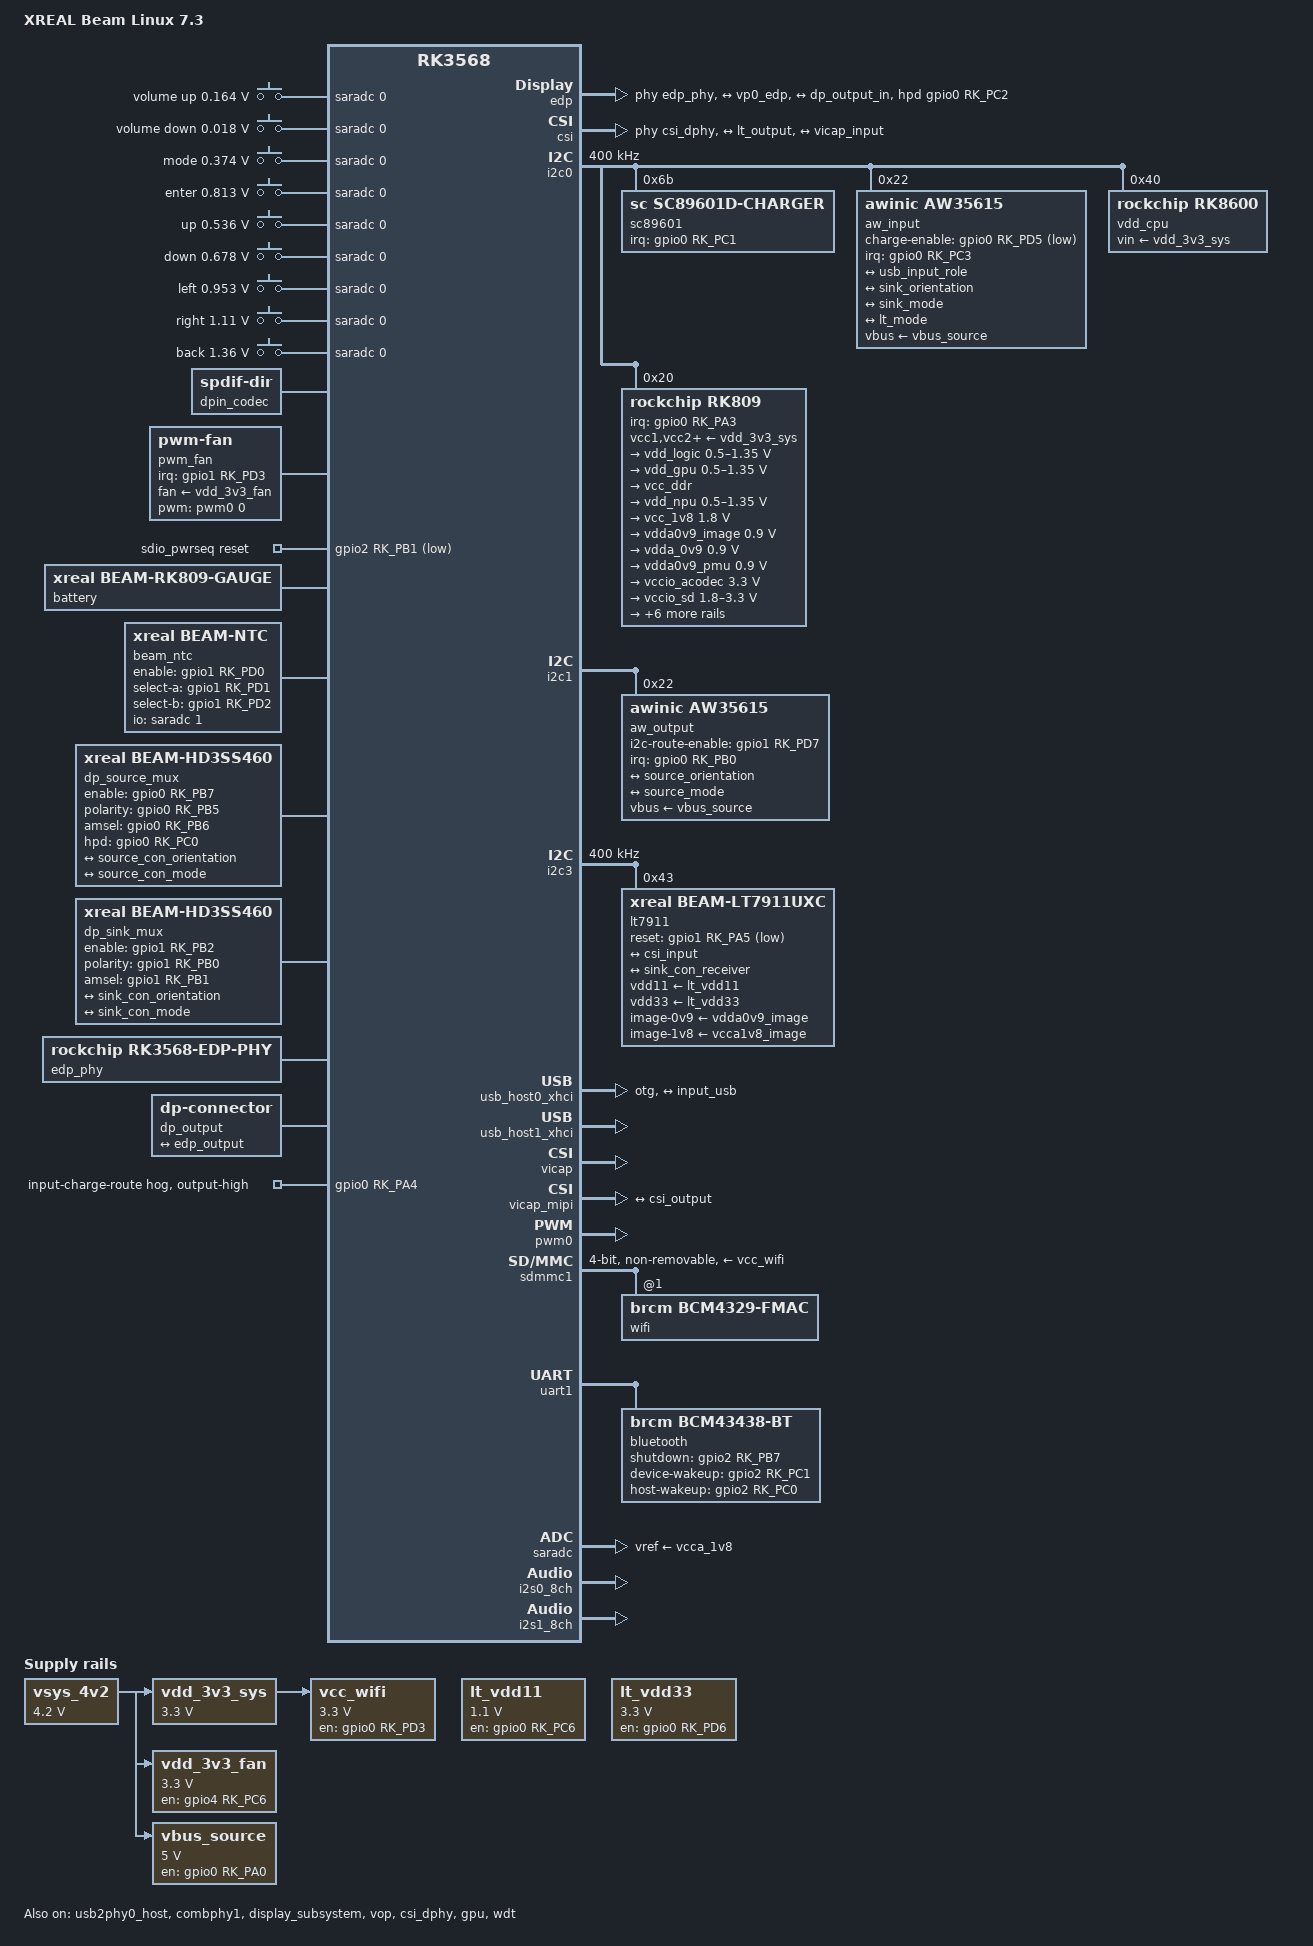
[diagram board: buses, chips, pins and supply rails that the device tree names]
// SPDX-License-Identifier: (GPL-2.0-only OR MIT)
/* 実機の稼働DTから配線・電源制約を移植。本家7.3のSoC定義を使用。 */
#include "rk3568-xreal-beam.dts"
#include <dt-bindings/gpio/gpio.h>
#include <dt-bindings/input/input.h>
#include <dt-bindings/usb/pd.h>
#include <dt-bindings/clock/rockchip,rk808.h>
#include <dt-bindings/media/video-interfaces.h>
#include <dt-bindings/soc/rockchip,vop2.h>

/* 実機dtboの__fixups__が参照するラベル。通常再起動の理由も明示する。 */
&pmugrf {
	reboot_mode: reboot-mode {
		compatible = "syscon-reboot-mode";
		offset = <0x200>;
		mode-normal = <0x5242c300>;
		mode-bootloader = <0x5242c309>;
		mode-recovery = <0x5242c303>;
		mode-loader = <0x5242c301>;
	};
};

/ {
	model = "XREAL Beam Linux 7.3";
	aliases {
		mmc1 = &sdmmc1;
	};

	adc-keys {
		compatible = "adc-keys";
		io-channels = <&saradc 0>;
		io-channel-names = "buttons";
		keyup-threshold-microvolt = <1800000>;
		poll-interval = <20>;
		volume-up { label = "volume up"; linux,code = <KEY_VOLUMEUP>; press-threshold-microvolt = <0x280a0>; };
		volume-down { label = "volume down"; linux,code = <KEY_VOLUMEDOWN>; press-threshold-microvolt = <0x4650>; };
		mode { label = "mode"; linux,code = <0x13c>; press-threshold-microvolt = <0x5b3c4>; };
		enter { label = "enter"; linux,code = <KEY_ENTER>; press-threshold-microvolt = <0xc67c8>; };
		up { label = "up"; linux,code = <KEY_UP>; press-threshold-microvolt = <0x82dc0>; };
		down { label = "down"; linux,code = <KEY_DOWN>; press-threshold-microvolt = <0xa57a8>; };
		left { label = "left"; linux,code = <KEY_LEFT>; press-threshold-microvolt = <0xe88b4>; };
		right { label = "right"; linux,code = <KEY_RIGHT>; press-threshold-microvolt = <0x10eff0>; };
		back { label = "back"; linux,code = <KEY_BACK>; press-threshold-microvolt = <0x14c080>; };
	};
	/* LT7911UXC supplies the I2S clocks; the codec has no software controls. */
	dpin_codec: dpin-codec {
		compatible = "linux,spdif-dir";
		#sound-dai-cells = <0>;
	};
	dpin-sound {
		compatible = "simple-audio-card";
		simple-audio-card,name = "rockchip,dummy-codec";
		simple-audio-card,format = "i2s";
		simple-audio-card,bitclock-master = <&dpin_master>;
		simple-audio-card,frame-master = <&dpin_master>;
		simple-audio-card,cpu { sound-dai = <&i2s1_8ch>; };
		dpin_master: simple-audio-card,codec { sound-dai = <&dpin_codec>; };
	};
	dpout-sound {
		compatible = "simple-audio-card";
		simple-audio-card,name = "rkhdmianalogsnd";
		simple-audio-card,format = "i2s";
		simple-audio-card,mclk-fs = <256>;
		simple-audio-card,cpu { sound-dai = <&i2s0_8ch>; };
		simple-audio-card,codec { sound-dai = <&edp>; };
	};

	vsys_4v2: regulator-vsys {
		compatible = "regulator-fixed";
		regulator-name = "vsys_4v2";
		regulator-min-microvolt = <4200000>;
		regulator-max-microvolt = <4200000>;
		regulator-always-on;
		regulator-boot-on;
	};
	/* 純正DTのPMIC入力はvdd_3v3_sys。物理電源の推定で変更しない。 */
	vdd_3v3_sys: regulator-system {
		compatible = "regulator-fixed";
		regulator-name = "vdd_3v3_sys";
		regulator-min-microvolt = <3300000>;
		regulator-max-microvolt = <3300000>;
		vin-supply = <&vsys_4v2>;
		regulator-always-on;
		regulator-boot-on;
	};
	vdd_3v3_fan: regulator-fan {
		compatible = "regulator-fixed";
		pinctrl-names = "default";
		pinctrl-0 = <&fan_enable>;
		regulator-name = "vdd_3v3_fan";
		regulator-min-microvolt = <3300000>;
		regulator-max-microvolt = <3300000>;
		vin-supply = <&vsys_4v2>;
		gpio = <&gpio4 RK_PC6 GPIO_ACTIVE_HIGH>;
		enable-active-high;
		regulator-always-on;
		regulator-boot-on;
	};
	vcc_wifi: regulator-wifi {
		compatible = "regulator-fixed";
		regulator-name = "wifi-vbat";
		regulator-min-microvolt = <3300000>;
		regulator-max-microvolt = <3300000>;
		vin-supply = <&vdd_3v3_sys>;
		gpio = <&gpio0 RK_PD3 GPIO_ACTIVE_HIGH>;
		enable-active-high;
		regulator-always-on;
		regulator-boot-on;
	};
	pwm_fan: pwm-fan {
		compatible = "pwm-fan";
		pinctrl-names = "default";
		pinctrl-0 = <&fan_tach>;
		interrupt-parent = <&gpio1>;
		interrupts = <RK_PD3 IRQ_TYPE_EDGE_FALLING>;
		/* hwmon標準の2 pulse/rev換算。絶対回転数の機械的較正は別途必要。 */
		pulses-per-revolution = <2>;
		pwms = <&pwm0 0 40000 0>;
		fan-supply = <&vdd_3v3_fan>;
		/* CPUと外部NTCの冷却要求の最大値をthermal coreが適用する。 */
		cooling-levels = <0 140 160 190 255>;
		#cooling-cells = <2>;
	};
	sdio_pwrseq: sdio-pwrseq {
		compatible = "mmc-pwrseq-simple";
		clocks = <&rk809 RK808_CLKOUT1>;
		clock-names = "ext_clock";
		/* PMICのenableに加えてSoC側の外部LPO出力ピンも必要。 */
		pinctrl-names = "default";
		pinctrl-0 = <&clk32k_out1 &wifi_reset>;
		reset-gpios = <&gpio2 RK_PB1 GPIO_ACTIVE_LOW>;
		post-power-on-delay-ms = <200>;
	};

	reserved-memory {
		ramoops@110000 {
			compatible = "ramoops";
			reg = <0 0x110000 0 0xf0000>;
			record-size = <0x20000>;
			console-size = <0x80000>;
			pmsg-size = <0x50000>;
		};
	};

	battery {
		compatible = "xreal,beam-rk809-gauge";
		pmic = <&rk809>;
		charge-controller = <&sc89601>;
		charge-full-design-microamp-hours = <4933000>;
		sense-resistor-micro-ohms = <10000>;
	};

	beam_ntc: ntc-sensors {
		compatible = "xreal,beam-ntc";
		pinctrl-names = "default";
		pinctrl-0 = <&ntc_controls>;
		enable-gpios = <&gpio1 RK_PD0 GPIO_ACTIVE_HIGH>;
		select-a-gpios = <&gpio1 RK_PD1 GPIO_ACTIVE_HIGH>;
		select-b-gpios = <&gpio1 RK_PD2 GPIO_ACTIVE_HIGH>;
		io-channels = <&saradc 1>;
		io-channel-names = "ntc";
		#thermal-sensor-cells = <1>;
	};
	thermal-zones {
		beam-outside {
			polling-delay = <1000>;
			polling-delay-passive = <1000>;
			thermal-sensors = <&beam_ntc 4>;
			trips {
				outside_35: fan-35 { temperature = <35000>; hysteresis = <2000>; type = "active"; };
				outside_40: fan-40 { temperature = <40000>; hysteresis = <2000>; type = "active"; };
				outside_45: fan-45 { temperature = <45000>; hysteresis = <2000>; type = "active"; };
				outside_50: fan-50 { temperature = <50000>; hysteresis = <2000>; type = "active"; };
				charge_42: charge-42 { temperature = <42000>; hysteresis = <0>; type = "active"; };
				charge_47: charge-47 { temperature = <47000>; hysteresis = <0>; type = "active"; };
			};
			cooling-maps {
				fan35 { trip = <&outside_35>; cooling-device = <&pwm_fan 1 1>; };
				fan40 { trip = <&outside_40>; cooling-device = <&pwm_fan 2 2>; };
				fan45 { trip = <&outside_45>; cooling-device = <&pwm_fan 3 3>; };
				fan50 { trip = <&outside_50>; cooling-device = <&pwm_fan 4 4>; };
				charge42 { trip = <&charge_42>; cooling-device = <&sc89601 1 1>; };
				charge45 { trip = <&outside_45>; cooling-device = <&sc89601 2 2>; };
				charge47 { trip = <&charge_47>; cooling-device = <&sc89601 3 3>; };
				charge50 { trip = <&outside_50>; cooling-device = <&sc89601 4 4>; };
			};
		};
		beam-battery {
			polling-delay = <1000>;
			polling-delay-passive = <1000>;
			thermal-sensors = <&beam_ntc 3>;
			trips {
				battery_warm: warm { temperature = <45000>; hysteresis = <1000>; type = "active"; };
				battery_hot: hot { temperature = <54000>; hysteresis = <1000>; type = "active"; };
				critical { temperature = <67000>; hysteresis = <0>; type = "critical"; };
			};
			cooling-maps {
				warm { trip = <&battery_warm>; cooling-device = <&sc89601 2 2>; };
				hot { trip = <&battery_hot>; cooling-device = <&sc89601 4 4>; };
			};
		};
		beam-battery-cold {
			/* 温度の符号を反転し、低温時にも通常のthermal判定を使う。 */
			polling-delay = <1000>;
			polling-delay-passive = <1000>;
			thermal-sensors = <&beam_ntc 5>;
			trips {
				battery_cool: cool { temperature = <(-15000)>; hysteresis = <1000>; type = "active"; };
				battery_cold: cold { temperature = <0>; hysteresis = <0>; type = "active"; };
			};
			cooling-maps {
				cool { trip = <&battery_cool>; cooling-device = <&sc89601 2 2>; };
				cold { trip = <&battery_cold>; cooling-device = <&sc89601 4 4>; };
			};
		};
		beam-board {
			polling-delay = <1000>;
			polling-delay-passive = <1000>;
			thermal-sensors = <&beam_ntc 0>;
			trips {
				critical { temperature = <80000>; hysteresis = <0>; type = "critical"; };
			};
		};
	};

	vbus_source: regulator-vbus-source {
		compatible = "regulator-fixed";
		pinctrl-names = "default";
		pinctrl-0 = <&vbus_enable>;
		regulator-name = "vbus5v0_otg";
		regulator-min-microvolt = <5000000>;
		regulator-max-microvolt = <5000000>;
		vin-supply = <&vsys_4v2>;
		gpio = <&gpio0 RK_PA0 GPIO_ACTIVE_HIGH>;
		enable-active-high;
	};
	lt_vdd11: regulator-lt-vdd11 {
		compatible = "regulator-fixed";
		regulator-name = "lt7911uxc-1v1";
		regulator-min-microvolt = <1100000>;
		regulator-max-microvolt = <1100000>;
		gpio = <&gpio0 RK_PC6 GPIO_ACTIVE_HIGH>;
		enable-active-high;
		regulator-boot-on;
		regulator-always-on;
	};
	lt_vdd33: regulator-lt-vdd33 {
		compatible = "regulator-fixed";
		regulator-name = "lt7911uxc-3v3";
		regulator-min-microvolt = <3300000>;
		regulator-max-microvolt = <3300000>;
		gpio = <&gpio0 RK_PD6 GPIO_ACTIVE_HIGH>;
		enable-active-high;
		regulator-boot-on;
		regulator-always-on;
	};

	dp_source_mux: typec-dp-source-mux {
		compatible = "xreal,beam-hd3ss460";
		pinctrl-names = "default";
		pinctrl-0 = <&dp_source_controls>;
		orientation-switch;
		mode-switch;
		enable-gpios = <&gpio0 RK_PB7 GPIO_ACTIVE_HIGH>;
		polarity-gpios = <&gpio0 RK_PB5 GPIO_ACTIVE_HIGH>;
		amsel-gpios = <&gpio0 RK_PB6 GPIO_ACTIVE_HIGH>;
		hpd-gpios = <&gpio0 RK_PC0 GPIO_ACTIVE_HIGH>;
		ports {
			#address-cells = <1>;
			#size-cells = <0>;
			port@0 { reg = <0>; source_orientation: endpoint { remote-endpoint = <&source_con_orientation>; }; };
			port@1 { reg = <1>; source_mode: endpoint { remote-endpoint = <&source_con_mode>; }; };
		};
	};
	dp_sink_mux: typec-dp-sink-mux {
		compatible = "xreal,beam-hd3ss460";
		pinctrl-names = "default";
		pinctrl-0 = <&dp_sink_controls>;
		orientation-switch;
		mode-switch;
		enable-gpios = <&gpio1 RK_PB2 GPIO_ACTIVE_HIGH>;
		polarity-gpios = <&gpio1 RK_PB0 GPIO_ACTIVE_HIGH>;
		amsel-gpios = <&gpio1 RK_PB1 GPIO_ACTIVE_HIGH>;
		ports {
			#address-cells = <1>;
			#size-cells = <0>;
			port@0 { reg = <0>; sink_orientation: endpoint { remote-endpoint = <&sink_con_orientation>; }; };
			port@1 { reg = <1>; sink_mode: endpoint { remote-endpoint = <&sink_con_mode>; }; };
		};
	};

	edp_phy_grf: syscon@fdcb0000 {
		compatible = "rockchip,rk3568-edp-phy-grf", "syscon", "simple-mfd";
		reg = <0 0xfdcb0000 0 0x100>;
		clocks = <&cru PCLK_EDPPHY_GRF>;
		edp_phy: edp-phy {
			compatible = "rockchip,rk3568-edp-phy";
			clocks = <&pmucru XIN_OSC0_EDPPHY_G>;
			clock-names = "refclk";
			#phy-cells = <0>;
		};
	};
	dp_output: dp-connector {
		compatible = "dp-connector";
		type = "full-size";
		port { dp_output_in: endpoint { remote-endpoint = <&edp_output>; }; };
	};
	edp: edp@fe0c0000 {
		#sound-dai-cells = <0>;
		compatible = "rockchip,rk3568-edp";
		reg = <0 0xfe0c0000 0 0x10000>;
		interrupts = <GIC_SPI 18 IRQ_TYPE_LEVEL_HIGH>;
		clocks = <&pmucru XIN_OSC0_EDPPHY_G>, <&cru PCLK_EDP_CTRL>, <&cru HCLK_VO>;
		clock-names = "dp", "pclk", "hclk";
		resets = <&cru SRST_EDP_24M>, <&cru SRST_P_EDP_CTRL>;
		reset-names = "dp", "apb";
		rockchip,grf = <&grf>;
		phys = <&edp_phy>;
		phy-names = "dp";
		power-domains = <&power RK3568_PD_VO>;
		hpd-gpios = <&gpio0 RK_PC2 GPIO_ACTIVE_HIGH>;
		ports {
			#address-cells = <1>;
			#size-cells = <0>;
			port@0 { reg = <0>; edp_input: endpoint { remote-endpoint = <&vp0_edp>; }; };
			port@1 { reg = <1>; edp_output: endpoint { remote-endpoint = <&dp_output_in>; }; };
		};
	};

	csi: csi@fdfb0000 {
		compatible = "rockchip,rk3568-mipi-csi2";
		reg = <0 0xfdfb0000 0 0x10000>;
		interrupts = <GIC_SPI 8 IRQ_TYPE_LEVEL_HIGH>, <GIC_SPI 9 IRQ_TYPE_LEVEL_HIGH>;
		interrupt-names = "err1", "err2";
		clocks = <&cru PCLK_CSI2HOST1>;
		phys = <&csi_dphy>;
		power-domains = <&power RK3568_PD_VI>;
		resets = <&cru SRST_P_CSI2HOST1>;
		ports {
			#address-cells = <1>;
			#size-cells = <0>;
			port@0 {
				reg = <0>;
				csi_input: endpoint {
					bus-type = <MEDIA_BUS_TYPE_CSI2_DPHY>;
					data-lanes = <1 2 3 4>;
					remote-endpoint = <&lt_output>;
				};
			};
			port@1 { reg = <1>; csi_output: endpoint { remote-endpoint = <&vicap_input>; }; };
		};
	};
};

&gpio0 {
	input-route-hog {
		gpio-hog;
		gpios = <RK_PA4 GPIO_ACTIVE_HIGH>;
		output-high;
		line-name = "input-charge-route";
	};
};

&i2c0 {
	sc89601: charger@6b {
		compatible = "sc,sc89601d-charger";
		reg = <0x6b>;
		pinctrl-names = "default";
		pinctrl-0 = <&charger_int>;
		interrupt-parent = <&gpio0>;
		interrupts = <RK_PC1 IRQ_TYPE_EDGE_FALLING>;
		/* TCPMのpower_supplyはconnectorではなくI2Cデバイスをfwnodeにする。 */
		charger-phandle = <&aw_input>;
		sc,charge-current = <480000>;
		sc,battery-regulation-voltage = <4400000>;
		sc,termination-current = <60000>;
		sc,precharge-current = <180000>;
		sc,minimum-sys-voltage = <3500000>;
		sc,boost-voltage = <5000000>;
		sc,boost-max-current = <1200000>;
		#cooling-cells = <2>;
		/* 温度上限は通常の充電電流設定より増やさず、末尾は停止。 */
		sc,thermal-charge-current-microamp = <2100000 900000 480000 0>;
	};
	aw_input: typec@22 {
		compatible = "awinic,aw35615";
		reg = <0x22>;
		pinctrl-names = "default";
		pinctrl-0 = <&aw_input_int &charge_enable>;
		interrupt-parent = <&gpio0>;
		interrupts = <RK_PC3 IRQ_TYPE_LEVEL_LOW>;
		vbus-supply = <&vbus_source>;
		charge-enable-gpios = <&gpio0 RK_PD5 GPIO_ACTIVE_LOW>;
		input_connector: connector {
			compatible = "usb-c-connector";
			label = "Beam DP input and charging";
			/* 電池駆動。PORT_RESET中はRdを外して以前のPD状態を解消する。 */
			self-powered;
			/* 現移植の入力PD3拡張要求後にreset loopを実測。PD2へ制限する。 */
			pd-revision = /bits/ 8 <2 0 1 0>;
			data-role = "device";
			power-role = "sink";
			sink-pdos = <PDO_FIXED(5000, 3000, PDO_FIXED_USB_COMM)>;
			op-sink-microwatt = <10000000>;
			sink-vdos = <0x6c00057e 0 0x20030001 0x5100007b 0xff010000 0x05000000>;
			sink-vdos-v1 = <0x6c00057e 0 0x20030001 0x5100007b 0xff010000 0x05000000>;
			xreal,dp-sink;
			altmodes {
				/* bit7=1はUSB2不要。管理NCM/ACMを併用するので0。 */
				displayport { svid = /bits/ 16 <0xff01>; vdo = <0x00140045>; };
			};
			ports {
				#address-cells = <1>;
				#size-cells = <0>;
				port@0 { reg = <0>; input_usb: endpoint { remote-endpoint = <&usb_input_role>; }; };
				port@1 { reg = <1>; sink_con_orientation: endpoint { remote-endpoint = <&sink_orientation>; }; };
				port@2 { reg = <2>; sink_con_mode: endpoint { remote-endpoint = <&sink_mode>; }; };
				port@3 { reg = <3>; sink_con_receiver: endpoint { remote-endpoint = <&lt_mode>; }; };
			};
		};
	};
};

&i2c1 {
	status = "okay";
	aw_output: typec@22 {
		compatible = "awinic,aw35615";
		reg = <0x22>;
		pinctrl-names = "default";
		pinctrl-0 = <&aw_output_int &output_i2c_route>;
		interrupt-parent = <&gpio0>;
		interrupts = <RK_PB0 IRQ_TYPE_LEVEL_LOW>;
		vbus-supply = <&vbus_source>;
		/* LowでI2C応答消失、Highで復帰することを実機で確認した経路制御。 */
		i2c-route-enable-gpios = <&gpio1 RK_PD7 GPIO_ACTIVE_HIGH>;
		output_connector: connector {
			compatible = "usb-c-connector";
			label = "Beam glasses output";
			data-role = "host";
			power-role = "source";
			source-pdos = <PDO_FIXED(5000, 1150, PDO_FIXED_USB_COMM)>;
			displayport = <&dp_output>;
			altmodes {
				displayport { svid = /bits/ 16 <0xff01>; vdo = <0x000014c6>; };
			};
			ports {
				#address-cells = <1>;
				#size-cells = <0>;
				port@1 { reg = <1>; source_con_orientation: endpoint { remote-endpoint = <&source_orientation>; }; };
				port@2 { reg = <2>; source_con_mode: endpoint { remote-endpoint = <&source_mode>; }; };
			};
		};
	};
};

&i2c3 {
	clock-frequency = <400000>;
	status = "okay";
	lt7911: bridge@43 {
		compatible = "xreal,beam-lt7911uxc";
		reg = <0x43>;
		reset-gpios = <&gpio1 RK_PA5 GPIO_ACTIVE_LOW>;
		vdd11-supply = <&lt_vdd11>;
		vdd33-supply = <&lt_vdd33>;
		image-0v9-supply = <&vdda0v9_image>;
		image-1v8-supply = <&vcca1v8_image>;
		mode-switch;
		ports {
			#address-cells = <1>;
			#size-cells = <0>;
			port@0 {
				reg = <0>;
				lt_output: endpoint {
					bus-type = <MEDIA_BUS_TYPE_CSI2_DPHY>;
					data-lanes = <1 2 3 4>;
					remote-endpoint = <&csi_input>;
				};
			};
			port@1 { reg = <1>; lt_mode: endpoint { remote-endpoint = <&sink_con_receiver>; }; };
		};
	};
};

&usb_host0_xhci {
	dr_mode = "otg";
	/* Management USB2 LPM is disabled during the validated host connection. */
	snps,usb2-gadget-lpm-disable;
	/* 元Ubuntu DTと実機GUSB2PHYCFG=0x00101408を維持する。 */
	snps,dis_enblslpm_quirk;
	snps,dis-u2-freeclk-exists-quirk;
	role-switch-default-mode = "peripheral";
	usb-role-switch;
	port { usb_input_role: endpoint { remote-endpoint = <&input_usb>; }; };
};
&usb_host1_xhci { status = "okay"; };
&usb2phy0_host { status = "okay"; };
&combphy1 { status = "okay"; };
&display_subsystem { status = "okay"; };
&vop { status = "okay"; };
&vop_mmu { status = "okay"; };
&vp0 {
	vp0_edp: endpoint@3 { reg = <ROCKCHIP_VOP2_EP_EDP0>; remote-endpoint = <&edp_input>; };
};
&csi_dphy { status = "okay"; };
&vicap { status = "okay"; };
&vicap_mipi {
	vicap_input: endpoint { remote-endpoint = <&csi_output>; };
};

&pwm0 {
	pinctrl-0 = <&pwm0m1_pins>;
	status = "okay";
};

&cpu_thermal {
	trips {
		fan_trip: fan-trip {
			temperature = <50000>;
			hysteresis = <5000>;
			type = "active";
		};
	};
	cooling-maps {
		fan-map {
			trip = <&fan_trip>;
			cooling-device = <&pwm_fan 0 4>;
		};
	};
};

&i2c0 {
	clock-frequency = <400000>;
	status = "okay";
	vdd_cpu: regulator@40 {
		/* 現物ID=8。VSEL0=0x91と旧925000uVが712500+17*12500で一致。 */
		compatible = "rockchip,rk8600";
		reg = <0x40>;
		vin-supply = <&vdd_3v3_sys>;
		regulator-name = "vdd_cpu";
		regulator-min-microvolt = <712500>;
		regulator-max-microvolt = <1150000>;
		regulator-ramp-delay = <2300>;
		fcs,suspend-voltage-selector = <1>;
		regulator-always-on;
		regulator-boot-on;
	};
	rk809: pmic@20 {
		compatible = "rockchip,rk809";
		reg = <0x20>;
		interrupt-parent = <&gpio0>;
		interrupts = <RK_PA3 IRQ_TYPE_LEVEL_LOW>;
		pinctrl-names = "default";
		pinctrl-0 = <&pmic_int>;
		system-power-controller;
		wakeup-source;
		#clock-cells = <1>;
		clock-output-names = "rk808-clkout1", "rk808-clkout2";
		vcc1-supply = <&vdd_3v3_sys>;
		vcc2-supply = <&vdd_3v3_sys>;
		vcc3-supply = <&vdd_3v3_sys>;
		vcc4-supply = <&vdd_3v3_sys>;
		vcc5-supply = <&vdd_3v3_sys>;
		vcc6-supply = <&vdd_3v3_sys>;
		vcc7-supply = <&vdd_3v3_sys>;
		vcc8-supply = <&vdd_3v3_sys>;
		vcc9-supply = <&vdd_3v3_sys>;
		regulators {
			vdd_logic: DCDC_REG1 {
				regulator-name = "vdd_logic";
				regulator-min-microvolt = <500000>;
				regulator-max-microvolt = <1350000>;
				regulator-ramp-delay = <6001>;
				regulator-always-on;
				regulator-boot-on;
			};
			vdd_gpu: DCDC_REG2 {
				regulator-name = "vdd_gpu";
				regulator-min-microvolt = <500000>;
				regulator-max-microvolt = <1350000>;
				regulator-ramp-delay = <6001>;
				regulator-always-on;
				regulator-boot-on;
			};
			vcc_ddr: DCDC_REG3 {
				regulator-name = "vcc_ddr";
				regulator-always-on;
				regulator-boot-on;
			};
			vdd_npu: DCDC_REG4 {
				regulator-name = "vdd_npu";
				regulator-min-microvolt = <500000>;
				regulator-max-microvolt = <1350000>;
				regulator-ramp-delay = <6001>;
				regulator-always-on;
				regulator-boot-on;
			};
			vcc_1v8: DCDC_REG5 {
				regulator-name = "vcc_1v8";
				regulator-min-microvolt = <1800000>;
				regulator-max-microvolt = <1800000>;
				regulator-always-on;
				regulator-boot-on;
			};
			vdda0v9_image: LDO_REG1 {
				regulator-name = "vdda0v9_image";
				regulator-min-microvolt = <900000>;
				regulator-max-microvolt = <900000>;
			};
			vdda_0v9: LDO_REG2 {
				regulator-name = "vdda_0v9";
				regulator-min-microvolt = <900000>;
				regulator-max-microvolt = <900000>;
				regulator-always-on;
				regulator-boot-on;
			};
			vdda0v9_pmu: LDO_REG3 {
				regulator-name = "vdda0v9_pmu";
				regulator-min-microvolt = <900000>;
				regulator-max-microvolt = <900000>;
				regulator-always-on;
				regulator-boot-on;
			};
			vccio_acodec: LDO_REG4 {
				regulator-name = "vccio_acodec";
				regulator-min-microvolt = <3300000>;
				regulator-max-microvolt = <3300000>;
				regulator-always-on;
				regulator-boot-on;
			};
			vccio_sd: LDO_REG5 {
				regulator-name = "vccio_sd";
				regulator-min-microvolt = <1800000>;
				regulator-max-microvolt = <3300000>;
				regulator-always-on;
				regulator-boot-on;
			};
			vcc3v3_pmu: LDO_REG6 {
				regulator-name = "vcc3v3_pmu";
				regulator-min-microvolt = <3300000>;
				regulator-max-microvolt = <3300000>;
				regulator-always-on;
				regulator-boot-on;
			};
			vcca_1v8: LDO_REG7 {
				regulator-name = "vcca_1v8";
				regulator-min-microvolt = <1800000>;
				regulator-max-microvolt = <1800000>;
				regulator-always-on;
				regulator-boot-on;
			};
			vcca1v8_pmu: LDO_REG8 {
				regulator-name = "vcca1v8_pmu";
				regulator-min-microvolt = <1800000>;
				regulator-max-microvolt = <1800000>;
				regulator-always-on;
				regulator-boot-on;
			};
			vcca1v8_image: LDO_REG9 {
				regulator-name = "vcca1v8_image";
				regulator-min-microvolt = <1800000>;
				regulator-max-microvolt = <1800000>;
			};
			vcc_3v3: SWITCH_REG1 {
				regulator-name = "vcc_3v3";
				regulator-always-on;
				regulator-boot-on;
			};
			vcc3v3_sd: SWITCH_REG2 {
				regulator-name = "vcc3v3_sd";
				regulator-always-on;
				regulator-boot-on;
			};
		};
	};
};

&pinctrl {
	/* ユーザー空間で所有するLED resetのmux/biasだけを設定する。 */
	pinctrl-names = "default";
	pinctrl-0 = <&led_reset>;
	board-controls {
		ntc_controls: ntc-controls {
			rockchip,pins = <1 RK_PD0 RK_FUNC_GPIO &pcfg_pull_none>,
				       <1 RK_PD1 RK_FUNC_GPIO &pcfg_pull_none>,
				       <1 RK_PD2 RK_FUNC_GPIO &pcfg_pull_none>;
		};
		charger_int: charger-int {
			rockchip,pins = <0 RK_PC1 RK_FUNC_GPIO &pcfg_pull_up>;
		};
		charge_enable: charge-enable {
			rockchip,pins = <0 RK_PD5 RK_FUNC_GPIO &pcfg_pull_none>;
		};
		output_i2c_route: output-i2c-route {
			rockchip,pins = <1 RK_PD7 RK_FUNC_GPIO &pcfg_pull_none>;
		};
		vbus_enable: vbus-enable {
			rockchip,pins = <0 RK_PA0 RK_FUNC_GPIO &pcfg_pull_none>;
		};
		fan_enable: fan-enable {
			rockchip,pins = <4 RK_PC6 RK_FUNC_GPIO &pcfg_pull_up>;
		};
		wifi_reset: wifi-reset {
			rockchip,pins = <2 RK_PB1 RK_FUNC_GPIO &pcfg_pull_none>;
		};
		fan_tach: fan-tach {
			rockchip,pins = <1 RK_PD3 RK_FUNC_GPIO &pcfg_pull_up>;
		};
		led_reset: led-reset {
			rockchip,pins = <0 RK_PA6 RK_FUNC_GPIO &pcfg_pull_none>;
		};
		dp_source_controls: dp-source-controls {
			rockchip,pins = <0 RK_PB5 RK_FUNC_GPIO &pcfg_pull_none>,
				       <0 RK_PB6 RK_FUNC_GPIO &pcfg_pull_none>,
				       <0 RK_PB7 RK_FUNC_GPIO &pcfg_pull_none>,
				       <0 RK_PC0 RK_FUNC_GPIO &pcfg_pull_none>;
		};
		dp_sink_controls: dp-sink-controls {
			rockchip,pins = <1 RK_PB0 RK_FUNC_GPIO &pcfg_pull_none>,
				       <1 RK_PB1 RK_FUNC_GPIO &pcfg_pull_none>,
				       <1 RK_PB2 RK_FUNC_GPIO &pcfg_pull_none>;
		};
	};
	usb-c {
		/* AW35615のactive-low割り込み線を非アサート時にHighへ保つ。 */
		aw_input_int: aw-input-int {
			rockchip,pins = <0 RK_PC3 RK_FUNC_GPIO &pcfg_pull_up>;
		};
		aw_output_int: aw-output-int {
			rockchip,pins = <0 RK_PB0 RK_FUNC_GPIO &pcfg_pull_up>;
		};
	};
	pmic {
		pmic_int: pmic-int {
			rockchip,pins = <0 RK_PA3 RK_FUNC_GPIO &pcfg_pull_up>;
		};
	};
};

&pmu_io_domains {
	pmuio2-supply = <&vcc3v3_pmu>;
	vccio1-supply = <&vccio_acodec>;
	vccio3-supply = <&vccio_sd>;
	vccio4-supply = <&vcc_1v8>;
	vccio5-supply = <&vcc_3v3>;
	vccio6-supply = <&vcc_1v8>;
	vccio7-supply = <&vcc_1v8>;
	status = "okay";
};

&sdmmc1 {
	bus-width = <4>;
	cap-sd-highspeed;
	cap-sdio-irq;
	non-removable;
	disable-wp;
	keep-power-in-suspend;
	max-frequency = <50000000>;
	mmc-pwrseq = <&sdio_pwrseq>;
	vmmc-supply = <&vcc_wifi>;
	pinctrl-names = "default";
	pinctrl-0 = <&sdmmc1_bus4 &sdmmc1_clk &sdmmc1_cmd>;
	#address-cells = <1>;
	#size-cells = <0>;
	status = "okay";
	wifi@1 {
		compatible = "brcm,bcm4329-fmac";
		reg = <1>;
	};
};

&uart1 {
	uart-has-rtscts;
	pinctrl-0 = <&uart1m0_xfer &uart1m0_ctsn &uart1m0_rtsn>;
	/delete-property/ dmas;
	/delete-property/ dma-names;
	status = "okay";
	bluetooth {
		compatible = "brcm,bcm43438-bt";
		/* 個体のBD_ADDRはprepare-unit-dtb.pyで反映する。共有DTには固定しない。 */
		clocks = <&rk809 RK808_CLKOUT1>;
		clock-names = "lpo";
		shutdown-gpios = <&gpio2 RK_PB7 GPIO_ACTIVE_HIGH>;
		device-wakeup-gpios = <&gpio2 RK_PC1 GPIO_ACTIVE_HIGH>;
		host-wakeup-gpios = <&gpio2 RK_PC0 GPIO_ACTIVE_HIGH>;
		max-speed = <1500000>;
	};
};

&gpu {
	mali-supply = <&vdd_gpu>;
	status = "okay";
};

&saradc {
	vref-supply = <&vcca_1v8>;
	status = "okay";
};

&wdt {
	status = "okay";
};

&i2s0_8ch {
	rockchip,playback-only;
	status = "okay";
};

&i2s1_8ch {
	/* 旧RKのclk-trcm=2に相当する本家のRXクロック共有指定。 */
	rockchip,trcm-sync-rx-only;
	dmas = <&dmac1 3>;
	dma-names = "rx";
	resets = <&cru SRST_M_I2S1_8CH_TX>, <&cru SRST_M_I2S1_8CH_RX>,
		 <&cru SRST_H_I2S1_8CH>;
	reset-names = "tx-m", "rx-m", "h";
	pinctrl-0 = <&i2s1m0_lrckrx &i2s1m0_mclk &i2s1m0_sclkrx &i2s1m0_sdi0>;
	status = "okay";
};

/* Match the verified 4.19 frequency range; use upstream nominal voltages. */
&cpu0 { cpu-supply = <&vdd_cpu>; operating-points-v2 = <&cpu0_opp_table>; };
&cpu1 { cpu-supply = <&vdd_cpu>; operating-points-v2 = <&cpu0_opp_table>; };
&cpu2 { cpu-supply = <&vdd_cpu>; operating-points-v2 = <&cpu0_opp_table>; };
&cpu3 { cpu-supply = <&vdd_cpu>; operating-points-v2 = <&cpu0_opp_table>; };
&cpu0_opp_table {
	opp-1992000000 { status = "disabled"; };
};
